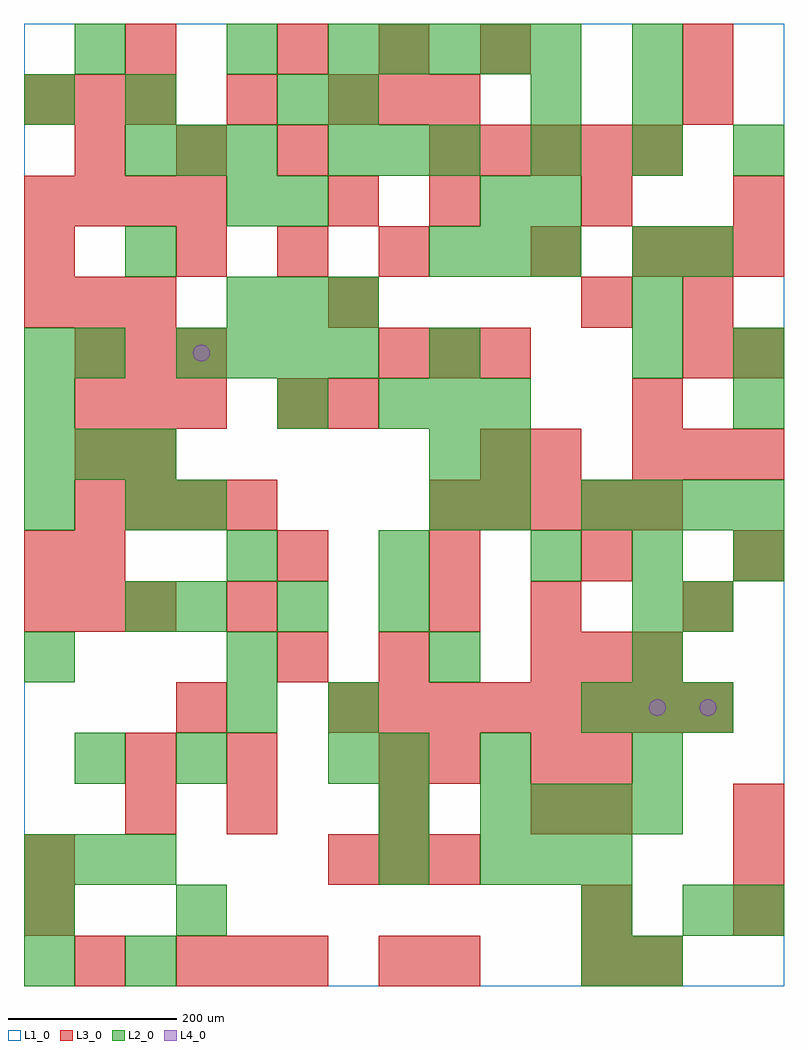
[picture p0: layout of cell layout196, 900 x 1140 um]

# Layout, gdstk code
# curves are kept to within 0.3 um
import gdstk
lib = gdstk.Library(unit=1e-6, precision=1e-09)
def R(c, l, rs):  # rectangles x0, y0, x1, y1
    for r in rs: c.add(gdstk.rectangle(r[:2], r[2:], *l))
def A(c, l, x, y, w, h, nx, ny, dx, dy):  # array of equal rectangles
    R(c, l, [(x+i*dx, y+j*dy, x+i*dx+w, y+j*dy+h) for i in range(nx) for j in range(ny)])
def P(c, l, *ps):  # polygons
    for p in ps: c.add(gdstk.Polygon(p, *l))
L1_0 = (1, 0)
L2_0 = (2, 0)
L3_0 = (3, 0)
L4_0 = (4, 0)

layout196 = lib.new_cell('layout196')
R(layout196, L1_0, [(0,0,900,1140)])
A(layout196, L2_0, 0, 120, 60, 60, 3, 2, 60, 480)
A(layout196, L2_0, 420, 120, 60, 60, 1, 3, 0, 60)
A(layout196, L2_0, 540, 120, 60, 60, 3, 1, 60, 0)
A(layout196, L2_0, 540, 180, 60, 60, 4, 1, 60, 0)
A(layout196, L2_0, 660, 300, 60, 60, 3, 1, 60, 0)
A(layout196, L2_0, 0, 360, 60, 60, 4, 1, 240, 0)
A(layout196, L2_0, 180, 420, 60, 60, 3, 1, 120, 0)
A(layout196, L2_0, 240, 480, 60, 60, 3, 1, 180, 0)
A(layout196, L2_0, 660, 540, 60, 60, 4, 1, 60, 0)
A(layout196, L2_0, 420, 660, 60, 60, 3, 1, 60, 0)
A(layout196, L2_0, 180, 720, 60, 60, 4, 1, 60, 0)
A(layout196, L2_0, 720, 720, 60, 60, 1, 3, 0, 60)
A(layout196, L2_0, 240, 780, 60, 60, 3, 1, 60, 0)
A(layout196, L2_0, 480, 840, 60, 60, 3, 1, 60, 0)
A(layout196, L2_0, 120, 960, 60, 60, 3, 1, 60, 0)
A(layout196, L2_0, 360, 960, 60, 60, 3, 1, 60, 0)
A(layout196, L2_0, 600, 960, 60, 60, 3, 1, 120, 0)
A(layout196, L2_0, 360, 1080, 60, 60, 5, 1, 60, 0)
R(layout196, L2_0, [(0,0,60,60), (120,0,180,60), (660,0,720,60), (720,0,780,60), (0,60,60,120), (180,60,240,120), (660,60,720,120), (780,60,840,120), (840,60,900,120), (60,240,120,300), (180,240,240,300), (360,240,420,300), (540,240,600,300), (720,240,780,300), (240,300,300,360), (360,300,420,360), (120,420,180,480), (720,420,780,480), (780,420,840,480), (720,480,780,540), (840,480,900,540), (0,540,60,600), (120,540,180,600), (180,540,240,600), (480,540,540,600), (540,540,600,600), (480,600,540,660), (540,600,600,660), (0,660,60,720), (300,660,360,720), (840,660,900,720), (0,720,60,780), (60,720,120,780), (480,720,540,780), (840,720,900,780), (120,840,180,900), (780,840,840,900), (240,900,300,960), (300,900,360,960), (540,900,600,960), (600,900,660,960), (0,1020,60,1080), (120,1020,180,1080), (300,1020,360,1080), (360,1020,420,1080), (600,1020,660,1080), (720,1020,780,1080), (60,1080,120,1140), (240,1080,300,1140), (720,1080,780,1140)])
A(layout196, L3_0, 180, 0, 60, 60, 3, 1, 60, 0)
A(layout196, L3_0, 840, 60, 60, 60, 1, 3, 0, 60)
A(layout196, L3_0, 0, 120, 60, 60, 1, 3, 0, 360)
A(layout196, L3_0, 360, 120, 60, 60, 3, 2, 60, 900)
A(layout196, L3_0, 240, 180, 60, 60, 3, 1, 180, 0)
A(layout196, L3_0, 600, 240, 60, 60, 1, 3, 0, 180)
A(layout196, L3_0, 360, 300, 60, 60, 8, 1, 60, 0)
A(layout196, L3_0, 600, 360, 60, 60, 3, 1, 60, 0)
A(layout196, L3_0, 0, 420, 60, 60, 3, 2, 60, 360)
A(layout196, L3_0, 300, 480, 60, 60, 4, 1, 180, 0)
A(layout196, L3_0, 60, 540, 60, 60, 4, 1, 60, 0)
A(layout196, L3_0, 480, 540, 60, 60, 5, 2, 60, 420)
A(layout196, L3_0, 720, 600, 60, 60, 3, 2, 60, 240)
A(layout196, L3_0, 60, 660, 60, 60, 3, 2, 60, 60)
A(layout196, L3_0, 360, 660, 60, 60, 1, 3, 0, 120)
A(layout196, L3_0, 420, 720, 60, 60, 3, 1, 60, 0)
A(layout196, L3_0, 180, 840, 60, 60, 3, 1, 120, 0)
A(layout196, L3_0, 0, 900, 60, 60, 4, 1, 60, 0)
A(layout196, L3_0, 480, 900, 60, 60, 3, 1, 180, 0)
A(layout196, L3_0, 60, 960, 60, 60, 3, 1, 120, 0)
A(layout196, L3_0, 0, 1020, 60, 60, 3, 1, 60, 0)
A(layout196, L3_0, 300, 1080, 60, 60, 3, 1, 120, 0)
R(layout196, L3_0, [(60,0,120,60), (420,0,480,60), (480,0,540,60), (660,0,720,60), (720,0,780,60), (0,60,60,120), (660,60,720,120), (120,180,180,240), (660,180,720,240), (120,240,180,300), (240,240,300,300), (420,240,480,300), (480,240,540,300), (660,240,720,300), (180,300,240,360), (300,360,360,420), (420,360,480,420), (240,420,300,480), (480,420,540,480), (780,420,840,480), (60,480,120,540), (60,600,120,660), (120,600,180,660), (540,600,600,660), (300,660,360,720), (720,660,780,720), (780,720,840,780), (840,720,900,780), (660,780,720,840), (780,780,840,840), (600,840,660,900), (240,1020,300,1080), (780,1020,840,1080), (120,1080,180,1140), (780,1080,840,1140)])
P(layout196, L4_0, [(220,750),(219.239,753.827),(217.071,757.071),(213.827,759.239),(210,760),(206.173,759.239),(202.929,757.071),(200.761,753.827),(200,750),(200.761,746.173),(202.929,742.929),(206.173,740.761),(210,740),(213.827,740.761),(217.071,742.929),(219.239,746.173)],
  [(760,330),(759.239,333.827),(757.071,337.071),(753.827,339.239),(750,340),(746.173,339.239),(742.929,337.071),(740.761,333.827),(740,330),(740.761,326.173),(742.929,322.929),(746.173,320.761),(750,320),(753.827,320.761),(757.071,322.929),(759.239,326.173)],
  [(820,330),(819.239,333.827),(817.071,337.071),(813.827,339.239),(810,340),(806.173,339.239),(802.929,337.071),(800.761,333.827),(800,330),(800.761,326.173),(802.929,322.929),(806.173,320.761),(810,320),(813.827,320.761),(817.071,322.929),(819.239,326.173)])

lib.write_gds('layout196.gds')
